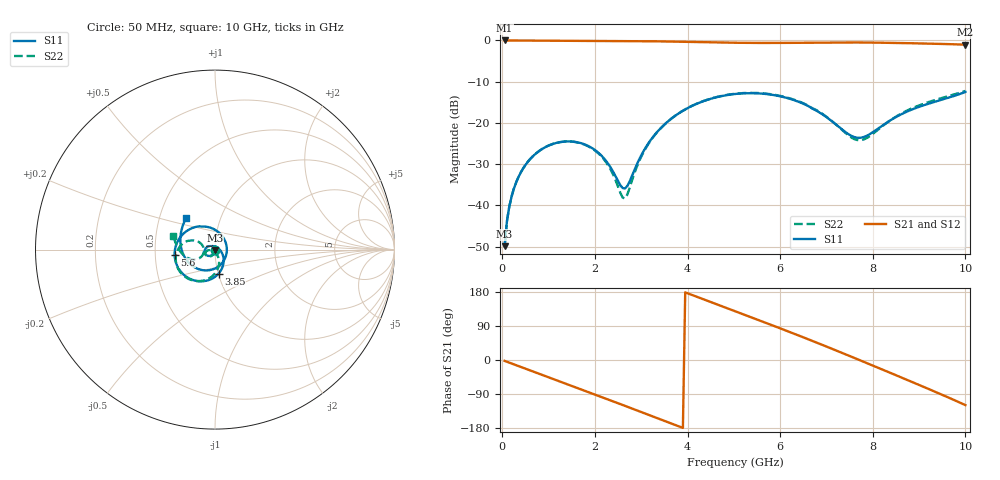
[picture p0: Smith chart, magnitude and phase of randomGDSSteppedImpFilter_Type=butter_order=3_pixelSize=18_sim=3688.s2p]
! freq	dB(S11)	phase(S11)	dB(S12)	phase(S12)
!  dB(S21)	phase(S21)	dB(S22)	phase(S22)
!S-par simulation data
#  GHz  S  DB  R 50
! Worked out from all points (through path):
!   200 points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, 50 MHz to 10 GHz, reference 50 ohm
!   highest |S21| = 0.00 dB at 50 MHz (marker M1); lowest = -1.0 dB at 10 GHz (marker M2)
!   group delay of S21, straight-line fit = 132 ps
!   lowest |S11| = -49.9 dB at 50 MHz (marker M3), VSWR 1.01, Z = 50 - j0.321 ohm
!   |S11| at or under -10 dB: start of sweep to end of sweep
!   |S22| runs from -49.8 to -12.2 dB; largest |S21 - S12| = 0
!   S11 on the Smith chart (normalised r, x): 50 MHz: 1.00, -0.01; 3.85 GHz: 1.00, -0.27; 5.6 GHz: 0.63, -0.04; 10 GHz: 0.68, +0.25
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0.05  -49.86 -91.3  -0.00 -2.3  -0.00 -2.3  -49.85 -91.0
0.1  -43.85 -94.2  -0.01 -4.6  -0.01 -4.6  -43.83 -93.6
0.2  -37.85 -99.3  -0.02 -9.2  -0.02 -9.2  -37.84 -98.1
0.55  -29.44 -117.1  -0.03 -25.2  -0.03 -25.2  -29.42 -113.5
1.1  -25.05 -145.3  -0.07 -50.2  -0.07 -50.2  -25.05 -137.3
1.75  -25.08 179.4  -0.10 -79.7  -0.10 -79.7  -25.14 -162.9
2.2  -28.64 147.7  -0.12 -100.3  -0.12 -100.3  -28.90 -174.7
2.65  -35.86 54.9  -0.14 -121.0  -0.14 -121.0  -38.30 -116.7
3  -27.86 -23.0  -0.17 -137.3  -0.17 -137.3  -28.18 -66.8
3.4  -21.49 -55.1  -0.22 -155.9  -0.22 -155.9  -21.54 -74.5
3.85  -17.38 -81.5  -0.31 -176.9  -0.31 -176.9  -17.37 -90.9
4.4  -14.50 -110.7  -0.44 157.6  -0.44 157.6  -14.46 -113.0
5.05  -12.95 -144.1  -0.56 127.6  -0.56 127.6  -12.89 -139.3
5.6  -12.88 -172.9  -0.61 102.3  -0.61 102.3  -12.80 -161.2
6.15  -13.95 156.2  -0.59 76.5  -0.59 76.5  -13.84 178.2
6.7  -16.57 120.1  -0.53 50.3  -0.53 50.3  -16.46 161.0
7.2  -20.32 75.9  -0.49 25.6  -0.49 25.6  -20.33 155.0
7.65  -23.56 9.6  -0.49 3.1  -0.49 3.1  -24.10 177.0
8.35  -19.57 -89.8  -0.58 -32.4  -0.58 -32.4  -19.58 -151.3
9.2  -15.35 -162.4  -0.77 -76.1  -0.77 -76.1  -14.95 -170.5
9.6  -14.00 165.5  -0.88 -97.2  -0.88 -97.2  -13.61 176.4
10  -12.48 132.9  -1.03 -119.0  -1.03 -119.0  -12.24 161.8
